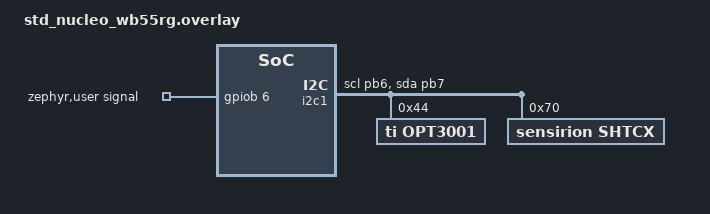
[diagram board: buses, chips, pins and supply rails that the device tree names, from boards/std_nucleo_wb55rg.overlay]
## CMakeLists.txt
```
#
# Copyright (c) 2023 Nordic Semiconductor ASA
#
# SPDX-License-Identifier: Apache-2.0

cmake_minimum_required(VERSION 3.20.0)

find_package(Zephyr REQUIRED HINTS $ENV{ZEPHYR_BASE})
project(bthome_sensor_demo)

FILE(GLOB app_sources src/*.c)
target_sources(app PRIVATE ${app_sources})
```

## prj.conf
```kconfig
#
# Copyright (c) 2023 Nordic Semiconductor ASA
#
# SPDX-License-Identifier: Apache-2.0
#
CONFIG_BT=y
CONFIG_BT_PERIPHERAL=n
CONFIG_BT_BROADCASTER=y
CONFIG_BT_DEVICE_NAME="Thermometer"
CONFIG_LOG=y

#CONFIG_BT_EXT_ADV=y
#CONFIG_BT_PER_ADV=y

#CONFIG_BT_HCI_ACL_FLOW_CONTROL=y
#CONFIG_BT_EXT_ADV=y
#^ breaks BLE w/ STM32wb55

CONFIG_SENSOR=y
CONFIG_I2C=y
CONFIG_GPIO=y
CONFIG_SENSOR_LOG_LEVEL_DBG=y

#CONFIG_PM_DEVICE=y
CONFIG_PM=y
#CONFIG_PM_DEVICE=y
#CONFIG_PM_DEVICE_RUNTIME=y
#CONFIG_PM_DEVICE_RUNTIME_EXCLUSIVE=n
CONFIG_ASSERT=y
CONFIG_POWEROFF=y

CONFIG_STDOUT_CONSOLE=y
CONFIG_CBPRINTF_FP_SUPPORT=y
```

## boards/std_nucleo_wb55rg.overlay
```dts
// i2c1 for sht
&i2c1 {
    pinctrl-0 = <&i2c1_scl_pb6 &i2c1_sda_pb7>;
    status = "okay";
    pinctrl-names = "default";
    
	opt3001: opt3001@44 {
		compatible = "ti,opt3001";
		reg = <0x44>;
	};
    shtcx: shtcx@70 {
		compatible = "sensirion,shtcx";
		reg = <0x70>;
		chip = "shtc3";
		measure-mode = "normal";
	};
};

/ {
	zephyr,user {
		signal-gpios =  < &gpiob 6 GPIO_ACTIVE_HIGH >; // Test scl
	};


	aliases {
		buzzer = &green_led_2;
		statusled = &blue_led_1;
		
		led0 = &green_led_2;
		led1 = &blue_led_1;
		sw0 = &user_button_1;
		sw1 = &user_button_2;
		sw2 = &user_button_3;
		watchdog0 = &iwdg;
		die-temp0 = &die_temp;
		volt-sensor0 = &vref;
		volt-sensor1 = &vbat;
	};
	
};
```

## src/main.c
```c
/*
 * Copyright (c) 2023 Nordic Semiconductor ASA
 *
 * SPDX-License-Identifier: Apache-2.0
 */

#include "zephyr/dt-bindings/gpio/gpio.h"
#include "zephyr/sys/time_units.h"
#include <zephyr/device.h>
#include <zephyr/devicetree.h>
#include <zephyr/drivers/gpio.h>
#include <zephyr/drivers/i2c.h>
#include <zephyr/drivers/sensor.h>
#include <zephyr/kernel.h>

#include <zephyr/bluetooth/bluetooth.h>
#include <zephyr/bluetooth/gap.h>
#include <zephyr/bluetooth/uuid.h>

void get_sensor_data();

/*
 ***************************************************************************
 * Device tree definitions.
 ***************************************************************************
 */
#define SHTC_DEV DT_NODELABEL(shtcx)
const struct device *sht = DEVICE_DT_GET(SHTC_DEV);

/*
 ***************************************************************************
 * Bluetooth BtHome setup.
 * ref: https://bthome.io/format/
 ****************************************************************************
 */
#define SERVICE_DATA_LEN 9 /* 11 bytes of service data */
#define SERVICE_UUID 0xfcd2 /* BTHome service UUID */
#define IDX_TEMPL 4         /* Index of lo byte of temp in service data*/
#define IDX_TEMPH 5         /* Index of hi byte of temp in service data*/
#define IDX_HUMDL 7         /* Index of lo byte of humidity in service data*/
#define IDX_HUMDH 8         /* Index of hi byte of humidity in service data*/
#define IDX_DOOR  10         /* Index of door state */

static uint8_t service_data[SERVICE_DATA_LEN] = {
    BT_UUID_16_ENCODE(SERVICE_UUID),
    0x40,
    0x02, /* Temperature */
    0xc4, /* Low byte */
    0x00, /* High byte */
    0x03, /* Humidity */
    0xbf, /* low byte */
    0x13, /* high byte */
};

static const struct bt_data ad[] = {
    BT_DATA_BYTES(BT_DATA_FLAGS, BT_LE_AD_GENERAL | BT_LE_AD_NO_BREDR),
    BT_DATA(BT_DATA_NAME_COMPLETE, CONFIG_BT_DEVICE_NAME,
            sizeof(CONFIG_BT_DEVICE_NAME) - 1),
   BT_DATA(BT_DATA_SVC_DATA16,
            service_data, ARRAY_SIZE(service_data)),
};

#define ADV_PARAMS BT_LE_ADV_PARAM(BT_LE_ADV_OPT_USE_IDENTITY, \
          BT_GAP_ADV_SLOW_INT_MIN, \
          BT_GAP_ADV_SLOW_INT_MAX, NULL)

/*
 ***************************************************************************
 * Bluetooth functions.
 ****************************************************************************
 */

void set_random_bt_address(void)
{
    bt_addr_le_t addr;

    addr.a.val[0] = 0xfd;
    addr.a.val[1] = 0xab;
    addr.a.val[2] = 0x55;
    addr.a.val[3] = 0xa7;
    addr.a.val[4] = 0x28;
    addr.a.val[5] = 0xf9;
    addr.type = BT_ADDR_LE_RANDOM;

	//BT_ADDR_SET_STATIC(&(addr.a));
 
    int err;

    printk("Set address.\n");

    err = bt_id_create(&addr, NULL);    // Change Identity->F9:28:A7:55:AB:FD (random)

    if (err) {
        printk("Error bt_id_create (err %d)\n", err);
    }

    char bt_addr_str[BT_ADDR_LE_STR_LEN];
    bt_addr_le_to_str(&addr, bt_addr_str, BT_ADDR_LE_STR_LEN);
    printk("Random address set %s\n", bt_addr_str);
}


/*
 ***************************************************************************
 * Main
 ****************************************************************************
 */
int main(void)
{
    printk("Thermometer !\n");

    // ----- SHT init -----
    if (!device_is_ready(sht)) {
        printk("Device %s is not ready\n", sht->name);
    } else {
        printk("Found device %s. Reading sensor data\n", sht->name);
    }
    
    // ----- BT init -----
    printk("CONFIG_BT_DEVICE_NAME: %s\n", CONFIG_BT_DEVICE_NAME);

    set_random_bt_address();

   	int err = bt_enable(NULL);
    if (err)
    {
        printk("Bluetooth init failed (err %d)\n", err);
        return 0;
    }
    
    get_sensor_data();

    /* Start advertising */
    err = bt_le_adv_start(ADV_PARAMS, ad, ARRAY_SIZE(ad), NULL, 0);
    if (err) {
        printk("Advertising failed to start (err %d)\n", err);
    }

    printk("Bluetooth init done.\n");

    // ----- Main loop -----
    for (;;)
    {
        get_sensor_data();
    
        /* Update advertising data */
        // err = bt_le_adv_start(ADV_PARAMS, ad, ARRAY_SIZE(ad), NULL, 0);
        // if (err) {
        //     printk("Advertising failed to start (err %d)\n", err);
        // }

        err = bt_le_adv_update_data(ad, ARRAY_SIZE(ad), NULL, 0);
        if (err)
        {
            printk("Failed to update advertising data (err %d)\n", err);
        }
        else{
            printk("Advertising data updated\n");
        }
 
//        k_sleep(K_SECONDS(10));

        // /* Stop advertising */
        // err = bt_le_adv_stop();
        // if (err) {
        //     printk("Advertising failed to stop (err %d)\n", err);
        // }

        k_sleep(K_MINUTES(5));
    }
    return 0;
}

// Read sht sensor and fill adv data array.
void get_sensor_data()
{
    struct sensor_value temp, hum;

    int err = sensor_sample_fetch(sht);
    if (err == 0)
    {
        err = sensor_channel_get(sht, SENSOR_CHAN_AMBIENT_TEMP,
            &temp);
        if (err==0)
        {
            err = sensor_channel_get(sht, SENSOR_CHAN_HUMIDITY,
                &hum);
        }
    }
    if (err != 0)
    {
        printf("SHT: failed: %d\n", err);
    }
    else
    {
        double ftemp = sensor_value_to_double(&temp);
        double fhumd = sensor_value_to_double(&hum);
        // printf("SHT: %.2f Cel ; %0.2f %%RH\n", ftemp, fhumd);

        int temp_h = (int)(ftemp * 100) >> 8;
        int temp_l = (int)(ftemp * 100) & 0xff;
        int hum_h = (int)(fhumd * 100) >> 8;
        int hum_l = (int)(fhumd * 100) & 0xff;

        if (service_data[IDX_TEMPH] != temp_h
            || service_data[IDX_TEMPL] != temp_l
            || service_data[IDX_HUMDH] != hum_h
            || service_data[IDX_HUMDL] != hum_l)
        {
            service_data[IDX_TEMPH] = temp_h;
            service_data[IDX_TEMPL] = temp_l;

            service_data[IDX_HUMDH] = hum_h;
            service_data[IDX_HUMDL] = hum_l;
        }
    }
}
```
